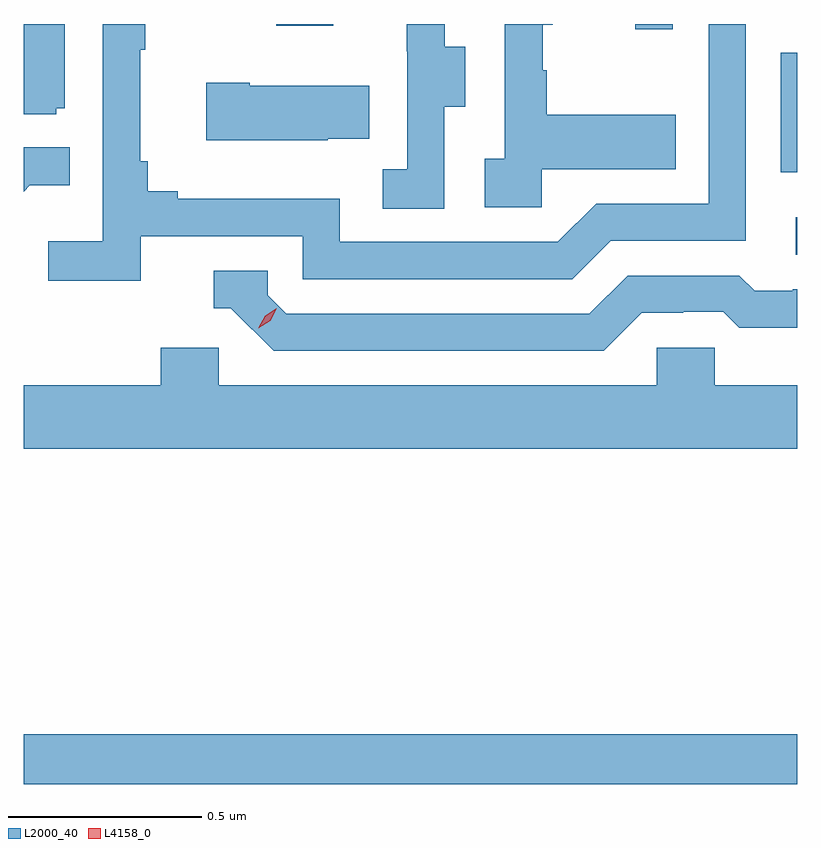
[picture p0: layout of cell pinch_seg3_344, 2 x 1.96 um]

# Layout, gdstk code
import gdstk
lib = gdstk.Library(unit=1e-6, precision=1e-09)
def R(c, l, rs):  # rectangles x0, y0, x1, y1
    for r in rs: c.add(gdstk.rectangle(r[:2], r[2:], *l))
def P(c, l, *ps):  # polygons
    for p in ps: c.add(gdstk.Polygon(p, *l))
L2000_40 = (2000, 40)
L4158_0 = (4158, 0)

pinch_seg3_344 = lib.new_cell('pinch_seg3_344')
R(pinch_seg3_344, L2000_40, [(970.145,721.362,972.145,721.49), (972.141,722.73,972.145,722.826), (972.102,722.943,972.145,723.252), (971.726,723.312,971.823,723.326), (970.798,723.321,970.945,723.326)])
P(pinch_seg3_344, L2000_40, [(971.484,722.951),(971.831,722.951),(971.831,723.091),(971.497,723.091),(971.497,723.206),(971.487,723.206),(971.487,723.324),(971.512,723.324),(971.512,723.326),(971.388,723.326),(971.388,722.978),(971.337,722.978),(971.337,722.853),(971.484,722.853)],
  [(970.448,722.778),(970.866,722.778),(970.866,722.667),(971.563,722.667),(971.662,722.766),(972.012,722.766),(972.012,723.326),(971.916,723.326),(971.916,722.862),(971.625,722.862),(971.526,722.763),(970.962,722.763),(970.962,722.875),(970.543,722.875),(970.543,722.894),(970.466,722.894),(970.466,722.971),(970.447,722.971),(970.447,723.259),(970.459,723.259),(970.459,723.326),(970.35,723.326),(970.35,722.764),(970.209,722.764),(970.209,722.662),(970.448,722.662)],
  [(970.23,723.108),(970.252,723.108),(970.252,723.326),(970.145,723.326),(970.145,723.093),(970.23,723.093)],
  [(971.232,723.112),(971.287,723.112),(971.287,723.267),(971.233,723.267),(971.233,723.326),(971.135,723.326),(971.135,723.255),(971.136,723.255),(971.136,722.951),(971.073,722.951),(971.073,722.848),(971.232,722.848)],
  [(970.931,723.029),(971.039,723.029),(971.039,723.166),(970.729,723.166),(970.729,723.174),(970.617,723.174),(970.617,723.026),(970.931,723.026)],
  [(970.161,722.909),(970.265,722.909),(970.265,723.008),(970.145,723.008),(970.145,722.893)],
  [(971.743,722.58),(971.85,722.58),(971.85,722.583),(971.953,722.583),(971.995,722.541),(972.145,722.541),(972.145,722.64),(972.133,722.64),(972.133,722.637),(972.034,722.637),(971.995,722.676),(971.706,722.676),(971.607,722.577),(970.824,722.577),(970.776,722.625),(970.776,722.688),(970.637,722.688),(970.637,722.592),(970.68,722.592),(970.791,722.481),(971.644,722.481)],
  [(972.145,722.392),(971.931,722.392),(971.931,722.49),(971.781,722.49),(971.781,722.392),(970.65,722.392),(970.65,722.49),(970.499,722.49),(970.499,722.392),(970.145,722.392),(970.145,722.228),(972.145,722.228)])
P(pinch_seg3_344, L4158_0, [(970.752,722.54),(970.752,722.54),(970.769,722.572),(970.8,722.591),(970.8,722.591),(970.8,722.591),(970.783,722.559),(970.752,722.54)])

lib.write_gds('pinch_seg3_344.gds')
